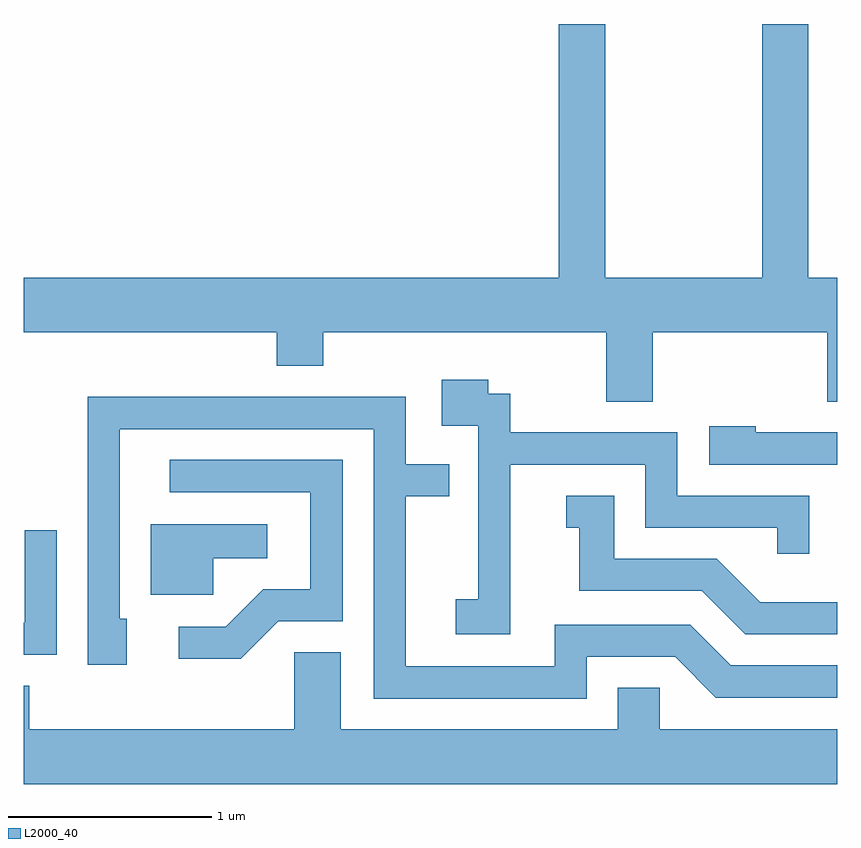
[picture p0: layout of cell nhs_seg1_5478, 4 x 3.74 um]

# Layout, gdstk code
import gdstk
lib = gdstk.Library(unit=1e-6, precision=1e-09)
def P(c, l, *ps):  # polygons
    for p in ps: c.add(gdstk.Polygon(p, *l))
L2000_40 = (2000, 40)

nhs_seg1_5478 = lib.new_cell('nhs_seg1_5478')
P(nhs_seg1_5478, L2000_40, [(352.704,946.196),(353.561,946.196),(353.561,945.856),(353.611,945.856),(353.611,946.464),(353.469,946.464),(353.469,947.712),(353.241,947.712),(353.241,946.464),(352.469,946.464),(352.469,947.712),(352.241,947.712),(352.241,946.464),(349.611,946.464),(349.611,946.196),(350.856,946.196),(350.856,946.031),(351.084,946.031),(351.084,946.196),(352.476,946.196),(352.476,945.856),(352.704,945.856)],
  [(352.004,945.546),(352.666,945.546),(352.666,945.236),(353.316,945.236),(353.316,945.108),(353.474,945.108),(353.474,945.394),(352.824,945.394),(352.824,945.704),(352.004,945.704),(352.004,945.894),(351.894,945.894),(351.894,945.964),(351.666,945.964),(351.666,945.736),(351.846,945.736),(351.846,944.884),(351.736,944.884),(351.736,944.711),(352.004,944.711)],
  [(352.379,944.601),(352.814,944.601),(353.014,944.401),(353.611,944.401),(353.611,944.559),(353.087,944.559),(352.887,944.759),(352.221,944.759),(352.221,944.554),(351.489,944.554),(351.489,945.391),(351.703,945.391),(351.703,945.549),(351.489,945.549),(351.489,945.879),(349.926,945.879),(349.926,944.561),(350.119,944.561),(350.119,944.789),(350.084,944.789),(350.084,945.721),(351.331,945.721),(351.331,944.396),(352.379,944.396)],
  [(353.611,945.704),(353.209,945.704),(353.209,945.734),(352.981,945.734),(352.981,945.546),(353.611,945.546)],
  [(350.862,944.776),(351.179,944.776),(351.179,945.569),(350.328,945.569),(350.328,945.411),(351.021,945.411),(351.021,944.934),(350.789,944.934),(350.604,944.749),(350.373,944.749),(350.373,944.591),(350.677,944.591)],
  [(353.611,944.869),(353.232,944.869),(353.017,945.084),(352.514,945.084),(352.514,945.394),(352.278,945.394),(352.278,945.236),(352.341,945.236),(352.341,944.926),(352.944,944.926),(353.159,944.711),(353.611,944.711)],
  [(350.544,945.086),(350.808,945.086),(350.808,945.254),(350.236,945.254),(350.236,944.906),(350.544,944.906)],
  [(349.774,945.223),(349.616,945.223),(349.616,944.769),(349.611,944.769),(349.611,944.611),(349.774,944.611)],
  [(353.611,944.244),(352.739,944.244),(352.739,944.449),(352.531,944.449),(352.531,944.244),(351.169,944.244),(351.169,944.624),(350.941,944.624),(350.941,944.244),(349.639,944.244),(349.639,944.459),(349.611,944.459),(349.611,943.976),(353.611,943.976)])

lib.write_gds('nhs_seg1_5478.gds')
